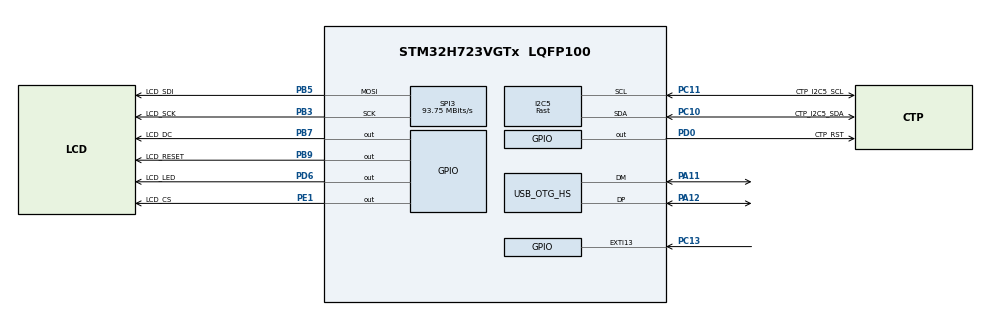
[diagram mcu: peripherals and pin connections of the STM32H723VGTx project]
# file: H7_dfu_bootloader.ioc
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CORTEX_M7.CPU_DCache=Enabled
CORTEX_M7.CPU_ICache=Enabled
Dma.I2C5_RX.0.Direction=DMA_PERIPH_TO_MEMORY
Dma.I2C5_RX.0.EventEnable=DISABLE
Dma.I2C5_RX.0.FIFOMode=DMA_FIFOMODE_DISABLE
Dma.I2C5_RX.0.Instance=DMA1_Stream0
Dma.I2C5_RX.0.MemDataAlignment=DMA_MDATAALIGN_BYTE
Dma.I2C5_RX.0.MemInc=DMA_MINC_ENABLE
Dma.I2C5_RX.0.Mode=DMA_NORMAL
Dma.I2C5_RX.0.PeriphDataAlignment=DMA_PDATAALIGN_BYTE
Dma.I2C5_RX.0.PeriphInc=DMA_PINC_DISABLE
Dma.I2C5_RX.0.Polarity=HAL_DMAMUX_REQ_GEN_RISING
Dma.I2C5_RX.0.Priority=DMA_PRIORITY_LOW
Dma.I2C5_RX.0.RequestNumber=1
Dma.I2C5_RX.0.SignalID=NONE
Dma.I2C5_RX.0.SyncEnable=DISABLE
Dma.I2C5_RX.0.SyncPolarity=HAL_DMAMUX_SYNC_NO_EVENT
Dma.I2C5_RX.0.SyncRequestNumber=1
Dma.I2C5_RX.0.SyncSignalID=NONE
Dma.Request0=I2C5_RX
Dma.Request1=SPI3_TX
Dma.SPI3_TX.1.Direction=DMA_MEMORY_TO_PERIPH
Dma.SPI3_TX.1.EventEnable=DISABLE
Dma.SPI3_TX.1.FIFOMode=DMA_FIFOMODE_DISABLE
Dma.SPI3_TX.1.Instance=DMA1_Stream1
Dma.SPI3_TX.1.MemDataAlignment=DMA_MDATAALIGN_BYTE
Dma.SPI3_TX.1.MemInc=DMA_MINC_ENABLE
Dma.SPI3_TX.1.Mode=DMA_NORMAL
Dma.SPI3_TX.1.PeriphDataAlignment=DMA_PDATAALIGN_BYTE
Dma.SPI3_TX.1.PeriphInc=DMA_PINC_DISABLE
Dma.SPI3_TX.1.Polarity=HAL_DMAMUX_REQ_GEN_RISING
Dma.SPI3_TX.1.Priority=DMA_PRIORITY_LOW
Dma.SPI3_TX.1.RequestNumber=1
Dma.SPI3_TX.1.SignalID=NONE
Dma.SPI3_TX.1.SyncEnable=DISABLE
Dma.SPI3_TX.1.SyncPolarity=HAL_DMAMUX_SYNC_NO_EVENT
Dma.SPI3_TX.1.SyncRequestNumber=1
Dma.SPI3_TX.1.SyncSignalID=NONE
I2C5.I2C_Speed_Mode=I2C_Fast
I2C5.Timing=0x00D049FB
Mcu.Family=STM32H7
Mcu.Name=STM32H723VGTx
Mcu.Package=LQFP100
NVIC.DMA1_Stream0_IRQn=true\:0\:0\:false\:false\:true\:false\:true\:true
NVIC.DMA1_Stream1_IRQn=true\:0\:0\:false\:false\:true\:false\:true\:true
NVIC.EXTI15_10_IRQn=true\:0\:0\:false\:false\:true\:true\:true\:true
NVIC.OTG_HS_IRQn=true\:1\:0\:true\:false\:true\:false\:true\:true
NVIC.PriorityGroup=NVIC_PRIORITYGROUP_4
NVIC.SPI3_IRQn=true\:0\:0\:false\:false\:true\:false\:true\:true
PA11.Mode=Device_Only_FS
PA11.Signal=USB_OTG_HS_DM
PA12.Mode=Device_Only_FS
PA12.Signal=USB_OTG_HS_DP
PA13(JTMS/SWDIO).Mode=Serial_Wire
PA13(JTMS/SWDIO).Signal=DEBUG_JTMS-SWDIO
PA14(JTCK/SWCLK).Mode=Serial_Wire
PA14(JTCK/SWCLK).Signal=DEBUG_JTCK-SWCLK
PB3(JTDO/TRACESWO).GPIO_Label=LCD_SCK
PB3(JTDO/TRACESWO).GPIO_Speed=GPIO_SPEED_FREQ_MEDIUM
PB3(JTDO/TRACESWO).Mode=TX_Only_Simplex_Unidirect_Master
PB3(JTDO/TRACESWO).Signal=SPI3_SCK
PB5.GPIO_Label=LCD_SDI
PB5.GPIO_Speed=GPIO_SPEED_FREQ_MEDIUM
PB5.Mode=TX_Only_Simplex_Unidirect_Master
PB5.Signal=SPI3_MOSI
PB7.GPIO_Label=LCD_DC
PB7.PinState=GPIO_PIN_SET
PB7.Signal=GPIO_Output
PB9.GPIO_Label=LCD_RESET
PB9.PinState=GPIO_PIN_SET
PB9.Signal=GPIO_Output
PC10.GPIO_Label=CTP_I2C5_SDA
PC10.GPIO_Pu=GPIO_PULLUP
PC10.Mode=I2C
PC10.Signal=I2C5_SDA
PC11.GPIO_Label=CTP_I2C5_SCL
PC11.GPIO_Pu=GPIO_PULLUP
PC11.Mode=I2C
PC11.Signal=I2C5_SCL
PC13.GPIO_PuPd=GPIO_PULLDOWN
PC13.Signal=GPXTI13
PD0.GPIO_Label=CTP_RST
PD0.Signal=GPIO_Output
PD6.GPIO_Label=LCD_LED
PD6.GPIO_ModeDefaultOutputPP=GPIO_MODE_OUTPUT_OD
PD6.GPIO_PuPd=GPIO_NOPULL
PD6.PinState=GPIO_PIN_SET
PD6.Signal=GPIO_Output
PE1.GPIO_Label=LCD_CS
PE1.Signal=GPIO_Output
PH0-OSC_IN.Mode=HSE-External-Oscillator
PH0-OSC_IN.Signal=RCC_OSC_IN
PH1-OSC_OUT.Mode=HSE-External-Oscillator
PH1-OSC_OUT.Signal=RCC_OSC_OUT
ProjectManager.HeapSize=0x400
ProjectManager.StackSize=0x400
ProjectManager.TargetToolchain=CMake
RCC.ADCFreq_Value=272000000
RCC.APB1Freq_Value=137500000
RCC.APB2Freq_Value=137500000
RCC.APB3Freq_Value=137500000
RCC.APB4Freq_Value=137500000
RCC.CortexFreq_Value=550000000
RCC.D1PPRE=RCC_APB3_DIV2
RCC.D2PPRE1=RCC_APB1_DIV2
RCC.D2PPRE2=RCC_APB2_DIV2
RCC.D3PPRE=RCC_APB4_DIV2
RCC.DIVM1=5
RCC.DIVM2=25
RCC.DIVM3=10
RCC.DIVN1=110
RCC.DIVN2=272
RCC.DIVN3=150
RCC.DIVP1=1
RCC.DIVP2=1
RCC.DIVQ3=1
RCC.DIVR1=1
RCC.HCLKFreq_Value=275000000
RCC.HPRE=RCC_HCLK_DIV2
RCC.PLLSourceVirtual=RCC_PLLSOURCE_HSE
RCC.SPI123CLockSelection=RCC_SPI123CLKSOURCE_PLL3
RCC.SYSCLKFreq_VALUE=550000000
RCC.SYSCLKSource=RCC_SYSCLKSOURCE_PLLCLK
RCC.USBCLockSelection=RCC_USBCLKSOURCE_HSI48
RCC.USBFreq_Value=48000000
SPI3.CLKPhase=SPI_PHASE_2EDGE
SPI3.CLKPolarity=SPI_POLARITY_HIGH
SPI3.CalculateBaudRate=93.75 MBits/s
SPI3.DataSize=SPI_DATASIZE_8BIT
SPI3.Direction=SPI_DIRECTION_2LINES_TXONLY
SPI3.IOSwap=SPI_IO_SWAP_ENABLE
SPI3.Mode=SPI_MODE_MASTER
SPI3.NSSPMode=SPI_NSS_PULSE_DISABLE
SPI3.VirtualType=VM_MASTER
USB_DEVICE.CLASS_NAME_HS=DFU
USB_DEVICE.USBD_DFU_APP_DEFAULT_ADD=0x08020000
USB_DEVICE.USBD_DFU_MEDIA=@Internal Flash   /0x08000000/1*128Ka,7*128Kg
USB_DEVICE.VirtualMode=Dfu
USB_DEVICE.VirtualModeHS=Dfu_HS
USB_OTG_HS.VirtualMode-Device_Only_FS=Device_Only_FS
VP_MEMORYMAP_VS_MEMORYMAP.Mode=CurAppReg
VP_USB_DEVICE_VS_USB_DEVICE_DFU_HS.Mode=DFU_HS
board=custom

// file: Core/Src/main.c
/* USER CODE BEGIN Header */
/**
  ******************************************************************************
  * @file           : main.c
  * @brief          : Main program body
  ******************************************************************************
  * @attention
  *
  * Copyright (c) 2026 STMicroelectronics.
  * All rights reserved.
  *
  * This software is licensed under terms that can be found in the LICENSE file
  * in the root directory of this software component.
  * If no LICENSE file comes with this software, it is provided AS-IS.
  *
  ******************************************************************************
  */
/* USER CODE END Header */
#include "main.h"
#include "dma.h"
#include "i2c.h"
#include "spi.h"
#include "usb_device.h"
#include "gpio.h"

/* USER CODE BEGIN Includes */

#include "st7796.h"
#include "ft6336.h"

/* USER CODE END Includes */

void SystemClock_Config(void);
void PeriphCommonClock_Config(void);

int main(void) {

  /* USER CODE BEGIN 1 */

// bootloader
#define DFU_BOOT_FLAG 0xDEADBEEF
#define MAIN_FIRMWARE 0x08020000 // здесь основная прошивка
#define MAIN_FIRMWARE_END 0x080C0000 // сектор 6 — уже образ для G4
// #define BOOTLOADER_ADDRESS 0x08000000 // здесь начало всех программ по умолчанию для старта
// #define BOOTLOADER_ADDRESS 0x1FF09800 // << здесь usbDFU вшитый в контроллер
// #define FLASH_DESC_STR      "@Internal Flash   /0x08000000/03*016Ka,01*016Kg,01*064Kg,07*128Kg,04*016Kg,01*064Kg,07*128Kg"

  // Уровни, которые держит выключенный H7 (power_off в main.c приложения), — сразу после сброса.
  // Держатся всё время DFU и в приложении до MX_UART5_Init / MX_TIM1_Init / MX_GPIO_Init:
  // U_TX (PB13) = 1 и TIM_CLK (PE11) = 0 — шина G4 в покое, а не в воздухе;
  // подсветка (PD6) = 0 — не мигает при подаче питания. В DFU её включает MX_GPIO_Init ниже
  LL_AHB4_GRP1_EnableClock(LL_AHB4_GRP1_PERIPH_GPIOB | LL_AHB4_GRP1_PERIPH_GPIOD | LL_AHB4_GRP1_PERIPH_GPIOE);
  LL_GPIO_SetOutputPin(GPIOB, LL_GPIO_PIN_13);
  LL_GPIO_SetPinMode(GPIOB, LL_GPIO_PIN_13, LL_GPIO_MODE_OUTPUT);
  LL_GPIO_ResetOutputPin(GPIOE, LL_GPIO_PIN_11);
  LL_GPIO_SetPinMode(GPIOE, LL_GPIO_PIN_11, LL_GPIO_MODE_OUTPUT);
  LL_GPIO_ResetOutputPin(LCD_LED_GPIO_Port, LCD_LED_Pin);
  LL_GPIO_SetPinMode(LCD_LED_GPIO_Port, LCD_LED_Pin, LL_GPIO_MODE_OUTPUT);

  void (*JumpToApplication)(void);
  uint32_t JumpAddress;
  extern int _bflag;
  uint32_t* dfu_boot_flag;
  dfu_boot_flag = (uint32_t*)(&_bflag);
  // стёртая прошивка (0xFFFFFFFF, DFU оборвался после стирания) — остаёмся в DFU, а не в HardFault
  const uint32_t app_sp = *(__IO uint32_t*)MAIN_FIRMWARE;
  const uint32_t app_reset = *(__IO uint32_t*)(MAIN_FIRMWARE + 4);
  const int app_valid = app_sp > D1_AXISRAM_BASE && app_sp <= (uint32_t)&_bflag
                     && app_reset > MAIN_FIRMWARE && app_reset < MAIN_FIRMWARE_END;
  if (*dfu_boot_flag != DFU_BOOT_FLAG && app_valid) {
    *dfu_boot_flag = 0;

    // Установка нового вектора прерываний
    SCB->VTOR = MAIN_FIRMWARE;
    // Установка указателя стека
    __set_MSP(*(__IO uint32_t*)MAIN_FIRMWARE);

    JumpAddress = *(__IO uint32_t*) (MAIN_FIRMWARE + 4); // здесь должно быть " + 4 ", а в скрипте компоновщика " - 8 " !!
    JumpToApplication = (void (*)(void))JumpAddress;
    JumpToApplication();
  }
  *dfu_boot_flag = 0;

  /* USER CODE END 1 */

  /* Enable the CPU Cache */

  /* Enable I-Cache---------------------------------------------------------*/
  SCB_EnableICache();

  /* Enable D-Cache---------------------------------------------------------*/
  SCB_EnableDCache();

  /* MCU Configuration--------------------------------------------------------*/

  /* Reset of all peripherals, Initializes the Flash interface and the Systick. */
  HAL_Init();

  /* Configure the system clock */
  SystemClock_Config();

  /* Configure the peripherals common clocks */
  PeriphCommonClock_Config();

  /* Initialize all configured peripherals */
  MX_GPIO_Init();
  MX_DMA_Init();
  MX_USB_DEVICE_Init();
  MX_I2C5_Init();
  MX_SPI3_Init();
  /* USER CODE BEGIN 2 */

  // LCD init
  LL_SPI_Enable(SPI3);
  LL_SPI_StartMasterTransfer(SPI3);
  LCD_Init();

  // TOUCH init
  // LL_I2C_Enable(I2C5);
  FT6336_Init();

  /* USER CODE END 2 */

  /* Infinite loop */
  /* USER CODE BEGIN WHILE */

  while (1) {

    LL_mDelay(100);
    TouchPoints_HandleTypeDef TP = FT6336_GetTouchPoint();
    if (TP.count > 0) {
      if (TP.point1_x > 50 && TP.point1_x < 100) {
        if (TP.point1_y > 50 && TP.point1_y < 100) {
          SCB_DisableDCache();
          SCB_DisableICache();
          LL_mDelay(200);
          NVIC_SystemReset();
        }
      }
    }

    /* USER CODE END WHILE */

  }
}

void SystemClock_Config(void) {
  LL_FLASH_SetLatency(LL_FLASH_LATENCY_3);
  while (LL_FLASH_GetLatency() != LL_FLASH_LATENCY_3) {
  }
  LL_PWR_ConfigSupply(LL_PWR_LDO_SUPPLY);
  LL_PWR_SetRegulVoltageScaling(LL_PWR_REGU_VOLTAGE_SCALE0);
  while (LL_PWR_IsActiveFlag_VOS() == 0) {
  }
  LL_RCC_HSE_Enable();

   /* Wait till HSE is ready */
  while (LL_RCC_HSE_IsReady() != 1) {

  }
  LL_RCC_HSI48_Enable();

   /* Wait till HSI48 is ready */
  while (LL_RCC_HSI48_IsReady() != 1) {

  }
  LL_RCC_PLL_SetSource(LL_RCC_PLLSOURCE_HSE);
  LL_RCC_PLL1P_Enable();
  LL_RCC_PLL1R_Enable();
  LL_RCC_PLL1_SetVCOInputRange(LL_RCC_PLLINPUTRANGE_4_8);
  LL_RCC_PLL1_SetVCOOutputRange(LL_RCC_PLLVCORANGE_WIDE);
  LL_RCC_PLL1_SetM(5);
  LL_RCC_PLL1_SetN(110);
  LL_RCC_PLL1_SetP(1);
  LL_RCC_PLL1_SetQ(2);
  LL_RCC_PLL1_SetR(1);
  LL_RCC_PLL1_Enable();

   /* Wait till PLL is ready */
  while (LL_RCC_PLL1_IsReady() != 1) {
  }

   /* Intermediate AHB prescaler 2 when target frequency clock is higher than 80 MHz */
  LL_RCC_SetAHBPrescaler(LL_RCC_AHB_DIV_2);

  LL_RCC_SetSysClkSource(LL_RCC_SYS_CLKSOURCE_PLL1);

   /* Wait till System clock is ready */
  while (LL_RCC_GetSysClkSource() != LL_RCC_SYS_CLKSOURCE_STATUS_PLL1) {

  }
  LL_RCC_SetSysPrescaler(LL_RCC_SYSCLK_DIV_1);
  LL_RCC_SetAHBPrescaler(LL_RCC_AHB_DIV_2);
  LL_RCC_SetAPB1Prescaler(LL_RCC_APB1_DIV_2);
  LL_RCC_SetAPB2Prescaler(LL_RCC_APB2_DIV_2);
  LL_RCC_SetAPB3Prescaler(LL_RCC_APB3_DIV_2);
  LL_RCC_SetAPB4Prescaler(LL_RCC_APB4_DIV_2);
  LL_SetSystemCoreClock(550000000);

   /* Update the time base */
  if (HAL_InitTick(TICK_INT_PRIORITY) != HAL_OK) {
    Error_Handler();
  }
}

void PeriphCommonClock_Config(void) {
  LL_RCC_PLL3P_Enable();
  LL_RCC_PLL3_SetVCOInputRange(LL_RCC_PLLINPUTRANGE_2_4);
  LL_RCC_PLL3_SetVCOOutputRange(LL_RCC_PLLVCORANGE_WIDE);
  LL_RCC_PLL3_SetM(10);
  LL_RCC_PLL3_SetN(150);
  LL_RCC_PLL3_SetP(2);
  LL_RCC_PLL3_SetQ(1);
  LL_RCC_PLL3_SetR(2);
  LL_RCC_PLL3_Enable();

   /* Wait till PLL is ready */
  while (LL_RCC_PLL3_IsReady() != 1) {
  }

}

void Error_Handler(void) {
  __disable_irq();
  while (1) {
  }
}
